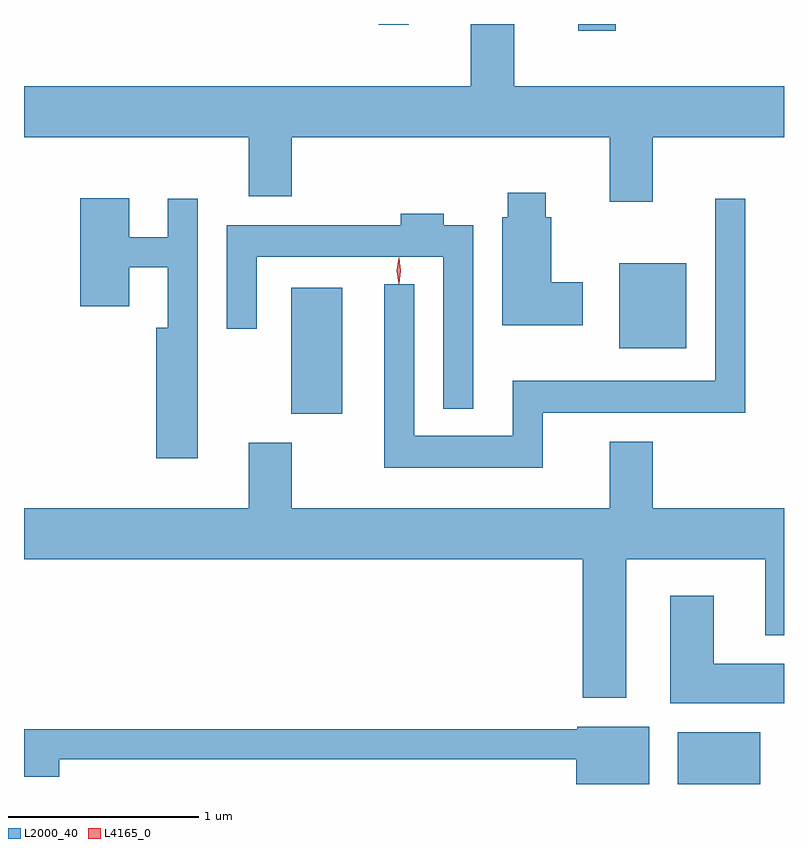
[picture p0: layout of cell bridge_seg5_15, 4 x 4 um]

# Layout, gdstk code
import gdstk
lib = gdstk.Library(unit=1e-6, precision=1e-09)
def R(c, l, rs):  # rectangles x0, y0, x1, y1
    for r in rs: c.add(gdstk.rectangle(r[:2], r[2:], *l))
def P(c, l, *ps):  # polygons
    for p in ps: c.add(gdstk.Polygon(p, *l))
L2000_40 = (2000, 40)
L4165_0 = (4165, 0)

bridge_seg5_15 = lib.new_cell('bridge_seg5_15')
R(bridge_seg5_15, L2000_40, [(1239.981,1473.372,1240.414,1473.644), (1237.946,1475.321,1238.214,1475.984), (1239.671,1475.666,1240.024,1476.114), (1239.456,1477.336,1239.654,1477.372), (1238.406,1477.368,1238.564,1477.372)])
P(bridge_seg5_15, L2000_40, [(1239.849,1476.776),(1240.539,1476.776),(1240.539,1477.044),(1239.119,1477.044),(1239.119,1477.372),(1238.891,1477.372),(1238.891,1477.044),(1236.539,1477.044),(1236.539,1476.776),(1237.721,1476.776),(1237.721,1476.466),(1237.949,1476.466),(1237.949,1476.776),(1239.621,1476.776),(1239.621,1476.436),(1239.849,1476.436)],
  [(1239.479,1476.014),(1239.314,1476.014),(1239.314,1476.354),(1239.284,1476.354),(1239.284,1476.484),(1239.086,1476.484),(1239.086,1476.354),(1239.056,1476.354),(1239.056,1475.786),(1239.479,1475.786)],
  [(1237.454,1476.453),(1237.296,1476.453),(1237.296,1476.249),(1237.094,1476.249),(1237.094,1476.454),(1236.836,1476.454),(1236.836,1475.886),(1237.094,1475.886),(1237.094,1476.091),(1237.296,1476.091),(1237.296,1475.774),(1237.236,1475.774),(1237.236,1475.086),(1237.454,1475.086)],
  [(1239.269,1475.326),(1240.334,1475.326),(1240.334,1476.453),(1240.176,1476.453),(1240.176,1475.494),(1239.111,1475.494),(1239.111,1475.204),(1238.594,1475.204),(1238.594,1476.003),(1238.436,1476.003),(1238.436,1475.036),(1239.269,1475.036)],
  [(1238.904,1476.314),(1238.749,1476.314),(1238.749,1476.374),(1238.521,1476.374),(1238.521,1476.314),(1237.606,1476.314),(1237.606,1475.768),(1237.764,1475.768),(1237.764,1476.146),(1238.746,1476.146),(1238.746,1475.348),(1238.904,1475.348)],
  [(1239.709,1474.556),(1240.441,1474.556),(1240.441,1474.156),(1240.539,1474.156),(1240.539,1474.824),(1239.849,1474.824),(1239.849,1475.174),(1239.621,1475.174),(1239.621,1474.824),(1237.949,1474.824),(1237.949,1475.169),(1237.721,1475.169),(1237.721,1474.824),(1236.539,1474.824),(1236.539,1474.556),(1239.481,1474.556),(1239.481,1473.826),(1239.709,1473.826)],
  [(1240.539,1474.004),(1240.169,1474.004),(1240.169,1474.364),(1239.941,1474.364),(1239.941,1473.796),(1240.539,1473.796)],
  [(1239.829,1473.674),(1239.45,1473.674),(1239.45,1473.659),(1236.539,1473.659),(1236.539,1473.411),(1236.724,1473.411),(1236.724,1473.501),(1239.446,1473.501),(1239.446,1473.372),(1239.829,1473.372)])
P(bridge_seg5_15, L4165_0, [(1238.512,1476.003),(1238.512,1476.004),(1238.502,1476.073),(1238.512,1476.142),(1238.512,1476.143),(1238.513,1476.142),(1238.522,1476.073),(1238.513,1476.004)],
  [(1238.512,1476.007),(1238.512,1476.007),(1238.502,1476.074),(1238.512,1476.14),(1238.512,1476.14),(1238.513,1476.14),(1238.522,1476.074),(1238.513,1476.007)])

lib.write_gds('bridge_seg5_15.gds')
